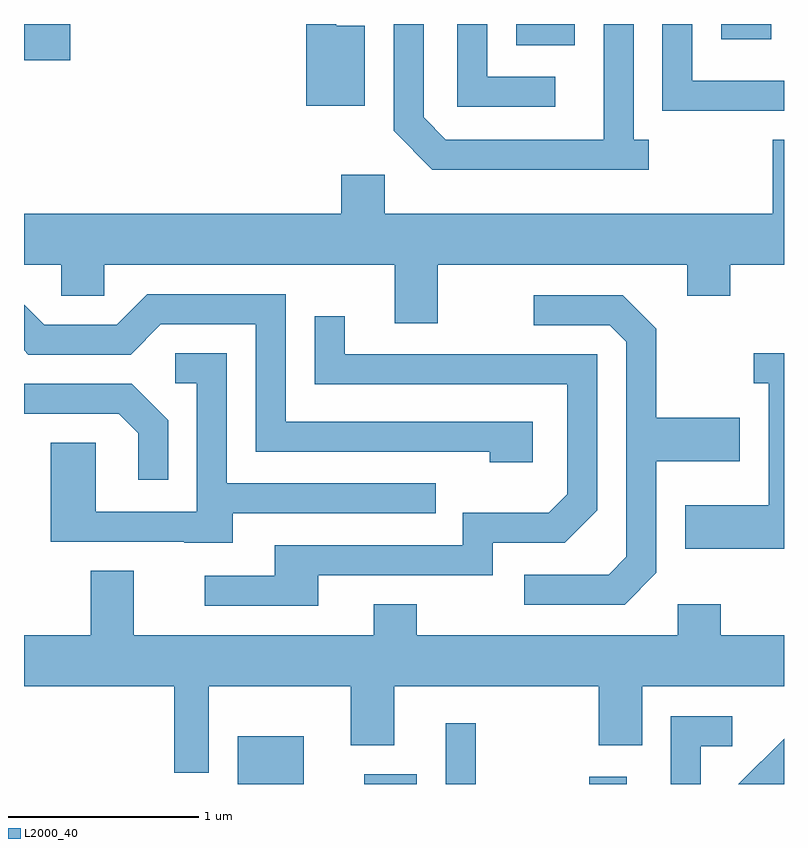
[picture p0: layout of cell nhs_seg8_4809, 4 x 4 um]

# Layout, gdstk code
import gdstk
lib = gdstk.Library(unit=1e-6, precision=1e-09)
def R(c, l, rs):  # rectangles x0, y0, x1, y1
    for r in rs: c.add(gdstk.rectangle(r[:2], r[2:], *l))
def P(c, l, *ps):  # polygons
    for p in ps: c.add(gdstk.Polygon(p, *l))
L2000_40 = (2000, 40)

nhs_seg8_4809 = lib.new_cell('nhs_seg8_4809')
R(nhs_seg8_4809, L2000_40, [(330.736,1840.342,331.084,1840.594), (331.401,1840.342,331.679,1840.394), (331.831,1840.342,331.989,1840.663), (332.586,1840.342,332.784,1840.379), (329.611,1844.151,329.854,1844.342), (332.201,1844.231,332.509,1844.342), (333.281,1844.261,333.544,1844.342)])
P(nhs_seg8_4809, L2000_40, [(332.898,1843.734),(332.819,1843.734),(332.819,1844.342),(332.661,1844.342),(332.661,1843.734),(331.832,1843.734),(331.714,1843.852),(331.714,1844.342),(331.556,1844.342),(331.556,1843.779),(331.759,1843.576),(332.898,1843.576)],
  [(333.611,1844.044),(333.129,1844.044),(333.129,1844.342),(332.971,1844.342),(332.971,1843.886),(333.611,1843.886)],
  [(332.408,1844.064),(332.049,1844.064),(332.049,1844.342),(331.891,1844.342),(331.891,1843.906),(332.408,1843.906)],
  [(331.404,1844.334),(331.254,1844.334),(331.254,1844.342),(331.096,1844.342),(331.096,1843.911),(331.404,1843.911)],
  [(331.509,1843.549),(331.281,1843.549),(331.281,1843.344),(329.611,1843.344),(329.611,1843.076),(329.806,1843.076),(329.806,1842.911),(330.034,1842.911),(330.034,1843.076),(331.561,1843.076),(331.561,1842.766),(331.789,1842.766),(331.789,1843.076),(333.101,1843.076),(333.101,1842.911),(333.329,1842.911),(333.329,1843.076),(333.611,1843.076),(333.611,1843.734),(333.551,1843.734),(333.551,1843.344),(331.509,1843.344)],
  [(332.289,1842.249),(330.989,1842.249),(330.989,1842.919),(330.259,1842.919),(330.099,1842.759),(329.717,1842.759),(329.611,1842.865),(329.611,1842.624),(329.634,1842.601),(330.172,1842.601),(330.332,1842.761),(330.831,1842.761),(330.831,1842.091),(332.061,1842.091),(332.061,1842.036),(332.289,1842.036)],
  [(332.939,1841.454),(332.939,1842.041),(333.379,1842.041),(333.379,1842.269),(332.939,1842.269),(332.939,1842.737),(332.762,1842.914),(332.293,1842.914),(332.293,1842.756),(332.694,1842.756),(332.781,1842.669),(332.781,1841.537),(332.689,1841.444),(332.243,1841.444),(332.243,1841.286),(332.772,1841.286)],
  [(331.159,1841.441),(332.079,1841.441),(332.079,1841.611),(332.457,1841.611),(332.629,1841.784),(332.629,1842.604),(331.299,1842.604),(331.299,1842.803),(331.141,1842.803),(331.141,1842.446),(332.471,1842.446),(332.471,1841.867),(332.374,1841.769),(331.921,1841.769),(331.921,1841.599),(330.931,1841.599),(330.931,1841.439),(330.563,1841.439),(330.563,1841.281),(331.159,1841.281)],
  [(330.709,1841.766),(331.778,1841.766),(331.778,1841.924),(330.679,1841.924),(330.679,1842.609),(330.408,1842.609),(330.408,1842.451),(330.521,1842.451),(330.521,1841.774),(329.989,1841.774),(329.989,1842.139),(329.751,1842.139),(329.751,1841.616),(330.455,1841.616),(330.455,1841.611),(330.709,1841.611)],
  [(333.611,1842.609),(333.453,1842.609),(333.453,1842.451),(333.531,1842.451),(333.531,1841.809),(333.091,1841.809),(333.091,1841.581),(333.611,1841.581)],
  [(330.369,1842.257),(330.177,1842.449),(329.611,1842.449),(329.611,1842.291),(330.109,1842.291),(330.211,1842.189),(330.211,1841.943),(330.369,1841.943)],
  [(330.584,1840.856),(331.331,1840.856),(331.331,1840.546),(331.559,1840.546),(331.559,1840.856),(332.636,1840.856),(332.636,1840.546),(332.864,1840.546),(332.864,1840.856),(333.611,1840.856),(333.611,1841.124),(333.279,1841.124),(333.279,1841.289),(333.051,1841.289),(333.051,1841.124),(331.679,1841.124),(331.679,1841.289),(331.451,1841.289),(331.451,1841.124),(330.189,1841.124),(330.189,1841.464),(329.961,1841.464),(329.961,1841.124),(329.611,1841.124),(329.611,1840.856),(330.401,1840.856),(330.401,1840.401),(330.584,1840.401)],
  [(333.174,1840.541),(333.338,1840.541),(333.338,1840.699),(333.016,1840.699),(333.016,1840.342),(333.174,1840.342)],
  [(333.611,1840.581),(333.371,1840.342),(333.611,1840.342)])

lib.write_gds('nhs_seg8_4809.gds')
